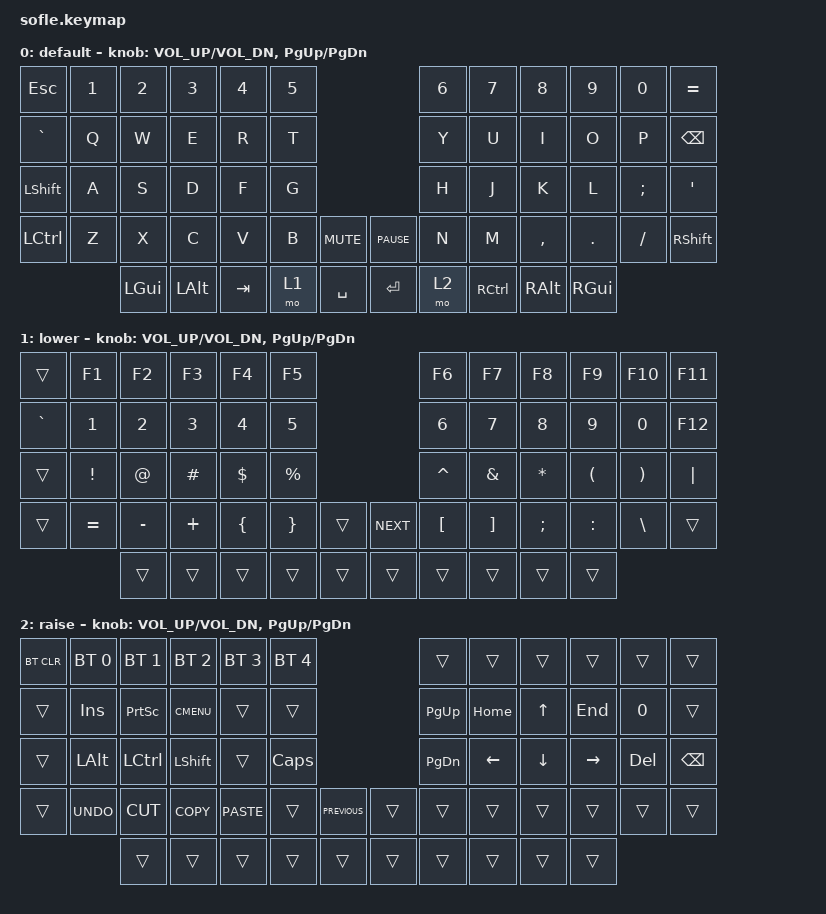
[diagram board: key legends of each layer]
/*
 * Copyright (c) 2020 The ZMK Contributors
 *
 * SPDX-License-Identifier: MIT
 */

#include <behaviors.dtsi>
#include <dt-bindings/zmk/bt.h>
#include <dt-bindings/zmk/keys.h>

#define BASE 0
#define LOWER 1
#define RAISE 2
#define ADJUST 3

/ {
    // Activate ADJUST layer by pressing raise and lower

    conditional_layers {
        compatible = "zmk,conditional-layers";

        adjust_layer {
            if-layers = <1 2>;
            then-layer = <3>;
        };
    };

    keymap {
        compatible = "zmk,keymap";

        default_layer {
            display-name = "default";

            // ------------------------------------------------------------------------------------------------------------
            // |   `   |  1  |  2  |  3   |  4   |  5   |                   |  6   |  7    |  8    |  9   |   0   |       |
            // |  ESC  |  Q  |  W  |  E   |  R   |  T   |                   |  Y   |  U    |  I    |  O   |   P   | BKSPC |
            // |  TAB  |  A  |  S  |  D   |  F   |  G   |                   |  H   |  J    |  K    |  L   |   ;   |   '   |
            // | SHIFT |  Z  |  X  |  C   |  V   |  B   |  MUTE  |  |       |  N   |  M    |  ,    |  .   |   /   | SHIFT |
            //               | GUI | ALT  | CTRL | LOWER|  ENTER |  | SPACE | RAISE| CTRL  | ALT   | GUI  |

            bindings = <
&kp ESCAPE        &kp N1  &kp N2    &kp N3    &kp N4   &kp N5                             &kp N6  &kp N7     &kp N8     &kp N9    &kp N0    &kp EQUAL
&kp GRAVE         &kp Q   &kp W     &kp E     &kp R    &kp T                              &kp Y   &kp U      &kp I      &kp O     &kp P     &kp BSPC
&kp LEFT_SHIFT    &kp A   &kp S     &kp D     &kp F    &kp G                              &kp H   &kp J      &kp K      &kp L     &kp SEMI  &kp SQT
&kp LEFT_CONTROL  &kp Z   &kp X     &kp C     &kp V    &kp B   &kp C_MUTE    &kp C_PAUSE  &kp N   &kp M      &kp COMMA  &kp DOT   &kp FSLH  &kp RSHFT
                          &kp LGUI  &kp LALT  &kp TAB  &mo 1   &kp SPACE     &kp ENTER    &mo 2   &kp RCTRL  &kp RALT   &kp RGUI
            >;

            sensor-bindings = <&inc_dec_kp C_VOL_UP C_VOL_DN &inc_dec_kp PG_UP PG_DN>;
        };

        lower_layer {
            display-name = "lower";

            // TODO: Some binds are waiting for shifted keycode support.
            // ------------------------------------------------------------------------------------------------------------
            // |       |  F1 |  F2 |  F3  |  F4  |  F5  |                   |  F6  |  F7   |  F8   |  F9  |  F10  |  F11  |
            // |   `   |  1  |  2  |  3   |  4   |  5   |                   |  6   |  7    |  8    |  9   |   0   |  F12  |
            // |       |  !  |  @  |  #   |  $   |  %   |                   |  ^   |  &    |  *    |  (   |   )   |   |   |
            // |       |  =  |  -  |  +   |  {   |  }   |        |  |       |  [   |  ]    |  ;    |  :   |   \   |       |
            //               |     |      |      |      |        |  |       |      |       |       |      |

            bindings = <
&trans     &kp F1     &kp F2     &kp F3    &kp F4    &kp F5                           &kp F6     &kp F7    &kp F8     &kp F9     &kp F10   &kp F11
&kp GRAVE  &kp N1     &kp N2     &kp N3    &kp N4    &kp N5                           &kp N6     &kp N7    &kp N8     &kp N9     &kp N0    &kp F12
&trans     &kp EXCL   &kp AT     &kp HASH  &kp DLLR  &kp PRCNT                        &kp CARET  &kp AMPS  &kp ASTRK  &kp LPAR   &kp RPAR  &kp PIPE
&trans     &kp EQUAL  &kp MINUS  &kp PLUS  &kp LBRC  &kp RBRC   &trans    &kp C_NEXT  &kp LBKT   &kp RBKT  &kp SEMI   &kp COLON  &kp BSLH  &trans
                      &trans     &trans    &trans    &trans     &trans    &trans      &trans     &trans    &trans     &trans
            >;

            sensor-bindings = <&inc_dec_kp C_VOL_UP C_VOL_DN &inc_dec_kp PG_UP PG_DN>;
        };

        raise_layer {
            display-name = "raise";

            // ------------------------------------------------------------------------------------------------------------
            // | BTCLR | BT1  | BT2  |  BT3  |  BT4  |  BT5 |                |      |      |       |      |       |       |
            // |       | INS  | PSCR | GUI   |       |      |                | PGUP |      |   ^   |      |       |       |
            // |       | ALT  | CTRL | SHIFT |       | CAPS |                | PGDN |   <- |   v   |  ->  |  DEL  | BKSPC |
            // |       | UNDO | CUT  | COPY  | PASTE |      |      |  |      |      |      |       |      |       |       |
            //                |      |       |       |      |      |  |      |      |      |       |      |

            bindings = <
&bt BT_CLR  &bt BT_SEL 0  &bt BT_SEL 1  &bt BT_SEL 2  &bt BT_SEL 3  &bt BT_SEL 4                            &trans     &trans    &trans    &trans     &trans   &trans
&trans      &kp INS       &kp PSCRN     &kp K_CMENU   &trans        &trans                                  &kp PG_UP  &kp HOME  &kp UP    &kp END    &kp N0   &trans
&trans      &kp LALT      &kp LCTRL     &kp LSHFT     &trans        &kp CLCK                                &kp PG_DN  &kp LEFT  &kp DOWN  &kp RIGHT  &kp DEL  &kp BSPC
&trans      &kp K_UNDO    &kp K_CUT     &kp K_COPY    &kp K_PASTE   &trans        &kp C_PREVIOUS    &trans  &trans     &trans    &trans    &trans     &trans   &trans
                          &trans        &trans        &trans        &trans        &trans            &trans  &trans     &trans    &trans    &trans
            >;

            sensor-bindings = <&inc_dec_kp C_VOL_UP C_VOL_DN &inc_dec_kp PG_UP PG_DN>;
        };
    };
};
